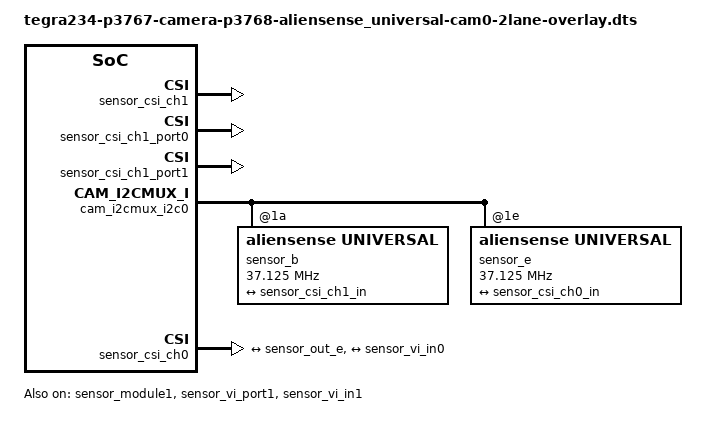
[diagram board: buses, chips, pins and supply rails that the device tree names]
// SPDX-License-Identifier: GPL-2.0-only OR MIT
/*
 * Generated by nxs (nxs host overlay) from the descriptor pack's sensor
 * capture tables — do not edit; regenerate.
 */

/dts-v1/;
/plugin/;

/ {
	overlay-name = "Universal-camera-CAM0-2Lane";
	jetson-header-name = "Jetson 24pin CSI Connector";
	compatible = "nvidia,p3768-0000+p3767-0000", "nvidia,p3768-0000+p3767-0001", "nvidia,p3768-0000+p3767-0003", "nvidia,p3768-0000+p3767-0004", "nvidia,p3768-0000+p3767-0005", "nvidia,p3768-0000+p3767-0000-super", "nvidia,p3768-0000+p3767-0001-super", "nvidia,p3768-0000+p3767-0003-super", "nvidia,p3768-0000+p3767-0004-super", "nvidia,p3768-0000+p3767-0005-super";

	fragment@0 {
		target = <&sensor_module1>;
		__overlay__ {
			status = "okay";
			badge = "universal_centerright_aliensense";
			drivernode0 {
				status = "okay";
				devname = "universal 10-001a";
				sysfs-device-tree = "/sys/firmware/devicetree/base/bus@0/cam_i2cmux/i2c@0/universal_b@1a";
			};
		};
	};

	fragment@1 {
		target = <&sensor_vi_port1>;
		__overlay__ {
			status = "okay";
		};
	};

	fragment@2 {
		target = <&sensor_vi_in1>;
		__overlay__ {
			status = "okay";
			bus-width = <2>;
		};
	};

	fragment@3 {
		target = <&sensor_csi_ch1>;
		__overlay__ {
			status = "okay";
			ports {
				status = "okay";
			};
		};
	};

	fragment@4 {
		target = <&sensor_csi_ch1_port0>;
		__overlay__ {
			status = "okay";
		};
	};

	fragment@5 {
		target = <&sensor_csi_ch1_in>;
		__overlay__ {
			status = "okay";
			bus-width = <2>;
			remote-endpoint = <&sensor_out_b>;
		};
	};

	fragment@6 {
		target = <&sensor_csi_ch1_port1>;
		__overlay__ {
			status = "okay";
		};
	};

	fragment@7 {
		target = <&sensor_csi_ch1_out>;
		__overlay__ {
			status = "okay";
		};
	};

	fragment@8 {
		target = <&cam_i2cmux_i2c0>;
		__overlay__ {
			sensor_b: universal_b@1a {
				compatible = "aliensense,universal";
				reg = <0x1a>;
				aliensense,reg-bits = <16>;
				aliensense,val-bits = <8>;
				clocks = <&bpmp 36>, <&bpmp 36>;
				clock-names = "extperiph1", "pllp_grtba";
				mclk = "extperiph1";
				clock-frequency = <37125000>;
				devnode = "video0";
				physical_w = "7.22";
				physical_h = "7.05";
				sensor_model = "universal";
				post_crop_frame_drop = "0";
				use_decibel_gain = "true";
				delayed_gain = "false";
				use_sensor_mode_id = "false";
				mode0 {
					aliensense_sensors_pool = "framos,imx335;";
					mclk_khz = "37125";
					num_lanes = "2";
					tegra_sinterface = "serial_b";
					vc_id = "0";
					phy_mode = "DPHY";
					discontinuous_clk = "no";
					dpcm_enable = "false";
					cil_settletime = "0";
					lane_polarity = "6";
					active_w = "2616";
					active_h = "1964";
					dynamic_pixel_bit_depth = "10";
					csi_pixel_bit_depth = "10";
					mode_type = "bayer";
					pixel_phase = "rggb";
					readout_orientation = "0";
					line_length = "3521";
					inherent_gain = "1";
					pix_clk_hz = "475200000";
					serdes_pix_clk_hz = "12000000000";
					gain_factor = "10";
					min_gain_val = "0";
					max_gain_val = "720";
					step_gain_val = "3";
					default_gain = "0";
					min_hdr_ratio = "1";
					max_hdr_ratio = "64";
					framerate_factor = "1000000";
					min_framerate = "1500000";
					max_framerate = "60000000";
					step_framerate = "1";
					default_framerate = "60000000";
					exposure_factor = "1000000";
					min_exp_time = "7";
					max_exp_time = "660000";
					step_exp_time = "1";
					default_exp_time = "10000";
					embedded_metadata_height = "0";
				};
				mode1 {
					aliensense_sensors_pool = "framos,imx335;";
					mclk_khz = "37125";
					num_lanes = "2";
					tegra_sinterface = "serial_b";
					vc_id = "0";
					phy_mode = "DPHY";
					discontinuous_clk = "no";
					dpcm_enable = "false";
					cil_settletime = "0";
					lane_polarity = "6";
					active_w = "1920";
					active_h = "1080";
					dynamic_pixel_bit_depth = "10";
					csi_pixel_bit_depth = "10";
					mode_type = "bayer";
					pixel_phase = "rggb";
					readout_orientation = "0";
					line_length = "3521";
					inherent_gain = "1";
					pix_clk_hz = "475200000";
					serdes_pix_clk_hz = "12000000000";
					gain_factor = "10";
					min_gain_val = "0";
					max_gain_val = "720";
					step_gain_val = "3";
					default_gain = "0";
					min_hdr_ratio = "1";
					max_hdr_ratio = "64";
					framerate_factor = "1000000";
					min_framerate = "1500000";
					max_framerate = "120000000";
					step_framerate = "1";
					default_framerate = "120000000";
					exposure_factor = "1000000";
					min_exp_time = "7";
					max_exp_time = "660000";
					step_exp_time = "1";
					default_exp_time = "10000";
					embedded_metadata_height = "0";
				};
				mode2 {
					aliensense_sensors_pool = "framos,imx335;";
					mclk_khz = "37125";
					num_lanes = "2";
					tegra_sinterface = "serial_b";
					vc_id = "0";
					phy_mode = "DPHY";
					discontinuous_clk = "no";
					dpcm_enable = "false";
					cil_settletime = "0";
					lane_polarity = "6";
					active_w = "1320";
					active_h = "984";
					dynamic_pixel_bit_depth = "12";
					csi_pixel_bit_depth = "12";
					mode_type = "bayer";
					pixel_phase = "rggb";
					readout_orientation = "0";
					line_length = "7035";
					inherent_gain = "1";
					pix_clk_hz = "475200000";
					serdes_pix_clk_hz = "12000000000";
					gain_factor = "10";
					min_gain_val = "0";
					max_gain_val = "720";
					step_gain_val = "3";
					default_gain = "0";
					min_hdr_ratio = "1";
					max_hdr_ratio = "64";
					framerate_factor = "1000000";
					min_framerate = "1500000";
					max_framerate = "60000000";
					step_framerate = "1";
					default_framerate = "60000000";
					exposure_factor = "1000000";
					min_exp_time = "15";
					max_exp_time = "660000";
					step_exp_time = "1";
					default_exp_time = "10000";
					embedded_metadata_height = "0";
				};
				mode3 {
					aliensense_sensors_pool = "framos,imx335;";
					mclk_khz = "37125";
					num_lanes = "2";
					tegra_sinterface = "serial_b";
					vc_id = "0";
					phy_mode = "DPHY";
					discontinuous_clk = "no";
					dpcm_enable = "false";
					cil_settletime = "0";
					lane_polarity = "6";
					active_w = "2616";
					active_h = "1964";
					dynamic_pixel_bit_depth = "12";
					csi_pixel_bit_depth = "12";
					mode_type = "bayer";
					pixel_phase = "rggb";
					readout_orientation = "0";
					line_length = "7035";
					inherent_gain = "1";
					pix_clk_hz = "475200000";
					serdes_pix_clk_hz = "12000000000";
					gain_factor = "10";
					min_gain_val = "0";
					max_gain_val = "720";
					step_gain_val = "3";
					default_gain = "0";
					min_hdr_ratio = "1";
					max_hdr_ratio = "64";
					framerate_factor = "1000000";
					min_framerate = "1500000";
					max_framerate = "30000000";
					step_framerate = "1";
					default_framerate = "30000000";
					exposure_factor = "1000000";
					min_exp_time = "15";
					max_exp_time = "660000";
					step_exp_time = "1";
					default_exp_time = "10000";
					embedded_metadata_height = "0";
				};
				mode4 {
					aliensense_sensors_pool = "framos,imx335;";
					mclk_khz = "37125";
					num_lanes = "2";
					tegra_sinterface = "serial_b";
					vc_id = "0";
					phy_mode = "DPHY";
					discontinuous_clk = "no";
					dpcm_enable = "false";
					cil_settletime = "0";
					lane_polarity = "6";
					active_w = "1920";
					active_h = "1080";
					dynamic_pixel_bit_depth = "12";
					csi_pixel_bit_depth = "12";
					mode_type = "bayer";
					pixel_phase = "rggb";
					readout_orientation = "0";
					line_length = "7035";
					inherent_gain = "1";
					pix_clk_hz = "475200000";
					serdes_pix_clk_hz = "12000000000";
					gain_factor = "10";
					min_gain_val = "0";
					max_gain_val = "720";
					step_gain_val = "3";
					default_gain = "0";
					min_hdr_ratio = "1";
					max_hdr_ratio = "64";
					framerate_factor = "1000000";
					min_framerate = "1500000";
					max_framerate = "60000000";
					step_framerate = "1";
					default_framerate = "60000000";
					exposure_factor = "1000000";
					min_exp_time = "15";
					max_exp_time = "660000";
					step_exp_time = "1";
					default_exp_time = "10000";
					embedded_metadata_height = "0";
				};
				mode5 {
					aliensense_sensors_pool = "framos,imx900;";
					mclk_khz = "37125";
					num_lanes = "2";
					tegra_sinterface = "serial_b";
					vc_id = "0";
					phy_mode = "DPHY";
					discontinuous_clk = "no";
					dpcm_enable = "false";
					cil_settletime = "0";
					lane_polarity = "6";
					active_w = "2064";
					active_h = "1552";
					dynamic_pixel_bit_depth = "12";
					csi_pixel_bit_depth = "12";
					mode_type = "bayer";
					pixel_phase = "rggb";
					readout_orientation = "0";
					line_length = "3000";
					inherent_gain = "1";
					pix_clk_hz = "950400000";
					serdes_pix_clk_hz = "12000000000";
					gain_factor = "10";
					min_gain_val = "0";
					max_gain_val = "480";
					step_gain_val = "1";
					default_gain = "0";
					min_hdr_ratio = "1";
					max_hdr_ratio = "1";
					framerate_factor = "1000000";
					min_framerate = "1500000";
					max_framerate = "72000000";
					step_framerate = "1";
					default_framerate = "72000000";
					exposure_factor = "1000000";
					min_exp_time = "9";
					max_exp_time = "660000";
					step_exp_time = "1";
					default_exp_time = "10000";
					embedded_metadata_height = "0";
				};
				mode6 {
					aliensense_sensors_pool = "framos,imx900;";
					mclk_khz = "37125";
					num_lanes = "2";
					tegra_sinterface = "serial_b";
					vc_id = "0";
					phy_mode = "DPHY";
					discontinuous_clk = "no";
					dpcm_enable = "false";
					cil_settletime = "0";
					lane_polarity = "6";
					active_w = "1920";
					active_h = "1080";
					dynamic_pixel_bit_depth = "12";
					csi_pixel_bit_depth = "12";
					mode_type = "bayer";
					pixel_phase = "rggb";
					readout_orientation = "0";
					line_length = "3000";
					inherent_gain = "1";
					pix_clk_hz = "950400000";
					serdes_pix_clk_hz = "12000000000";
					gain_factor = "10";
					min_gain_val = "0";
					max_gain_val = "480";
					step_gain_val = "1";
					default_gain = "0";
					min_hdr_ratio = "1";
					max_hdr_ratio = "1";
					framerate_factor = "1000000";
					min_framerate = "1500000";
					max_framerate = "100000000";
					step_framerate = "1";
					default_framerate = "100000000";
					exposure_factor = "1000000";
					min_exp_time = "9";
					max_exp_time = "660000";
					step_exp_time = "1";
					default_exp_time = "10000";
					embedded_metadata_height = "0";
				};
				mode7 {
					aliensense_sensors_pool = "framos,imx900;";
					mclk_khz = "37125";
					num_lanes = "2";
					tegra_sinterface = "serial_b";
					vc_id = "0";
					phy_mode = "DPHY";
					discontinuous_clk = "no";
					dpcm_enable = "false";
					cil_settletime = "0";
					lane_polarity = "6";
					active_w = "1032";
					active_h = "776";
					dynamic_pixel_bit_depth = "12";
					csi_pixel_bit_depth = "12";
					mode_type = "bayer";
					pixel_phase = "gbrg";
					readout_orientation = "0";
					line_length = "3000";
					inherent_gain = "1";
					pix_clk_hz = "950400000";
					serdes_pix_clk_hz = "12000000000";
					gain_factor = "10";
					min_gain_val = "0";
					max_gain_val = "480";
					step_gain_val = "1";
					default_gain = "0";
					min_hdr_ratio = "1";
					max_hdr_ratio = "1";
					framerate_factor = "1000000";
					min_framerate = "1500000";
					max_framerate = "250000000";
					step_framerate = "1";
					default_framerate = "250000000";
					exposure_factor = "1000000";
					min_exp_time = "5";
					max_exp_time = "660000";
					step_exp_time = "1";
					default_exp_time = "10000";
					embedded_metadata_height = "0";
				};
				mode8 {
					aliensense_sensors_pool = "framos,imx900;";
					mclk_khz = "37125";
					num_lanes = "2";
					tegra_sinterface = "serial_b";
					vc_id = "0";
					phy_mode = "DPHY";
					discontinuous_clk = "no";
					dpcm_enable = "false";
					cil_settletime = "0";
					lane_polarity = "6";
					active_w = "2064";
					active_h = "154";
					dynamic_pixel_bit_depth = "12";
					csi_pixel_bit_depth = "12";
					mode_type = "bayer";
					pixel_phase = "gbrg";
					readout_orientation = "0";
					line_length = "3000";
					inherent_gain = "1";
					pix_clk_hz = "950400000";
					serdes_pix_clk_hz = "12000000000";
					gain_factor = "10";
					min_gain_val = "0";
					max_gain_val = "480";
					step_gain_val = "1";
					default_gain = "0";
					min_hdr_ratio = "1";
					max_hdr_ratio = "1";
					framerate_factor = "1000000";
					min_framerate = "1500000";
					max_framerate = "453000000";
					step_framerate = "1";
					default_framerate = "453000000";
					exposure_factor = "1000000";
					min_exp_time = "9";
					max_exp_time = "660000";
					step_exp_time = "1";
					default_exp_time = "10000";
					embedded_metadata_height = "0";
				};
				mode9 {
					aliensense_sensors_pool = "framos,imx900;";
					mclk_khz = "37125";
					num_lanes = "2";
					tegra_sinterface = "serial_b";
					vc_id = "0";
					phy_mode = "DPHY";
					discontinuous_clk = "no";
					dpcm_enable = "false";
					cil_settletime = "0";
					lane_polarity = "6";
					active_w = "1024";
					active_h = "720";
					dynamic_pixel_bit_depth = "12";
					csi_pixel_bit_depth = "12";
					mode_type = "bayer";
					pixel_phase = "rggb";
					readout_orientation = "0";
					line_length = "3000";
					inherent_gain = "1";
					pix_clk_hz = "950400000";
					serdes_pix_clk_hz = "12000000000";
					gain_factor = "10";
					min_gain_val = "0";
					max_gain_val = "480";
					step_gain_val = "1";
					default_gain = "0";
					min_hdr_ratio = "1";
					max_hdr_ratio = "1";
					framerate_factor = "1000000";
					min_framerate = "1500000";
					max_framerate = "250000000";
					step_framerate = "1";
					default_framerate = "250000000";
					exposure_factor = "1000000";
					min_exp_time = "5";
					max_exp_time = "660000";
					step_exp_time = "1";
					default_exp_time = "10000";
					embedded_metadata_height = "0";
				};
				mode10 {
					aliensense_sensors_pool = "framos,imx900;";
					mclk_khz = "37125";
					num_lanes = "2";
					tegra_sinterface = "serial_b";
					vc_id = "0";
					phy_mode = "DPHY";
					discontinuous_clk = "no";
					dpcm_enable = "false";
					cil_settletime = "0";
					lane_polarity = "6";
					active_w = "2064";
					active_h = "1552";
					dynamic_pixel_bit_depth = "10";
					csi_pixel_bit_depth = "10";
					mode_type = "bayer";
					pixel_phase = "rggb";
					readout_orientation = "0";
					line_length = "3000";
					inherent_gain = "1";
					pix_clk_hz = "950400000";
					serdes_pix_clk_hz = "12000000000";
					gain_factor = "10";
					min_gain_val = "0";
					max_gain_val = "480";
					step_gain_val = "1";
					default_gain = "0";
					min_hdr_ratio = "1";
					max_hdr_ratio = "1";
					framerate_factor = "1000000";
					min_framerate = "1500000";
					max_framerate = "117000000";
					step_framerate = "1";
					default_framerate = "117000000";
					exposure_factor = "1000000";
					min_exp_time = "5";
					max_exp_time = "660000";
					step_exp_time = "1";
					default_exp_time = "10000";
					embedded_metadata_height = "0";
				};
				mode11 {
					aliensense_sensors_pool = "framos,imx900;";
					mclk_khz = "37125";
					num_lanes = "2";
					tegra_sinterface = "serial_b";
					vc_id = "0";
					phy_mode = "DPHY";
					discontinuous_clk = "no";
					dpcm_enable = "false";
					cil_settletime = "0";
					lane_polarity = "6";
					active_w = "1920";
					active_h = "1080";
					dynamic_pixel_bit_depth = "10";
					csi_pixel_bit_depth = "10";
					mode_type = "bayer";
					pixel_phase = "rggb";
					readout_orientation = "0";
					line_length = "3000";
					inherent_gain = "1";
					pix_clk_hz = "950400000";
					serdes_pix_clk_hz = "12000000000";
					gain_factor = "10";
					min_gain_val = "0";
					max_gain_val = "480";
					step_gain_val = "1";
					default_gain = "0";
					min_hdr_ratio = "1";
					max_hdr_ratio = "1";
					framerate_factor = "1000000";
					min_framerate = "1500000";
					max_framerate = "161000000";
					step_framerate = "1";
					default_framerate = "161000000";
					exposure_factor = "1000000";
					min_exp_time = "5";
					max_exp_time = "660000";
					step_exp_time = "1";
					default_exp_time = "10000";
					embedded_metadata_height = "0";
				};
				mode12 {
					aliensense_sensors_pool = "framos,imx900;";
					mclk_khz = "37125";
					num_lanes = "2";
					tegra_sinterface = "serial_b";
					vc_id = "0";
					phy_mode = "DPHY";
					discontinuous_clk = "no";
					dpcm_enable = "false";
					cil_settletime = "0";
					lane_polarity = "6";
					active_w = "1032";
					active_h = "776";
					dynamic_pixel_bit_depth = "10";
					csi_pixel_bit_depth = "10";
					mode_type = "bayer";
					pixel_phase = "gbrg";
					readout_orientation = "0";
					line_length = "3000";
					inherent_gain = "1";
					pix_clk_hz = "950400000";
					serdes_pix_clk_hz = "12000000000";
					gain_factor = "10";
					min_gain_val = "0";
					max_gain_val = "480";
					step_gain_val = "1";
					default_gain = "0";
					min_hdr_ratio = "1";
					max_hdr_ratio = "1";
					framerate_factor = "1000000";
					min_framerate = "1500000";
					max_framerate = "29000000";
					step_framerate = "1";
					default_framerate = "29000000";
					exposure_factor = "1000000";
					min_exp_time = "3";
					max_exp_time = "660000";
					step_exp_time = "1";
					default_exp_time = "10000";
					embedded_metadata_height = "0";
				};
				mode13 {
					aliensense_sensors_pool = "framos,imx900;";
					mclk_khz = "37125";
					num_lanes = "2";
					tegra_sinterface = "serial_b";
					vc_id = "0";
					phy_mode = "DPHY";
					discontinuous_clk = "no";
					dpcm_enable = "false";
					cil_settletime = "0";
					lane_polarity = "6";
					active_w = "2064";
					active_h = "154";
					dynamic_pixel_bit_depth = "10";
					csi_pixel_bit_depth = "10";
					mode_type = "bayer";
					pixel_phase = "gbrg";
					readout_orientation = "0";
					line_length = "3000";
					inherent_gain = "1";
					pix_clk_hz = "950400000";
					serdes_pix_clk_hz = "12000000000";
					gain_factor = "10";
					min_gain_val = "0";
					max_gain_val = "480";
					step_gain_val = "1";
					default_gain = "0";
					min_hdr_ratio = "1";
					max_hdr_ratio = "1";
					framerate_factor = "1000000";
					min_framerate = "1500000";
					max_framerate = "632000000";
					step_framerate = "1";
					default_framerate = "632000000";
					exposure_factor = "1000000";
					min_exp_time = "5";
					max_exp_time = "660000";
					step_exp_time = "1";
					default_exp_time = "10000";
					embedded_metadata_height = "0";
				};
				mode14 {
					aliensense_sensors_pool = "framos,imx900;";
					mclk_khz = "37125";
					num_lanes = "2";
					tegra_sinterface = "serial_b";
					vc_id = "0";
					phy_mode = "DPHY";
					discontinuous_clk = "no";
					dpcm_enable = "false";
					cil_settletime = "0";
					lane_polarity = "6";
					active_w = "1024";
					active_h = "720";
					dynamic_pixel_bit_depth = "10";
					csi_pixel_bit_depth = "10";
					mode_type = "bayer";
					pixel_phase = "rggb";
					readout_orientation = "0";
					line_length = "3000";
					inherent_gain = "1";
					pix_clk_hz = "950400000";
					serdes_pix_clk_hz = "12000000000";
					gain_factor = "10";
					min_gain_val = "0";
					max_gain_val = "480";
					step_gain_val = "1";
					default_gain = "0";
					min_hdr_ratio = "1";
					max_hdr_ratio = "1";
					framerate_factor = "1000000";
					min_framerate = "1500000";
					max_framerate = "377000000";
					step_framerate = "1";
					default_framerate = "377000000";
					exposure_factor = "1000000";
					min_exp_time = "3";
					max_exp_time = "660000";
					step_exp_time = "1";
					default_exp_time = "10000";
					embedded_metadata_height = "0";
				};
				mode15 {
					aliensense_sensors_pool = "sony,imx219;";
					mclk_khz = "24000";
					num_lanes = "2";
					tegra_sinterface = "serial_b";
					vc_id = "0";
					phy_mode = "DPHY";
					discontinuous_clk = "no";
					dpcm_enable = "false";
					cil_settletime = "0";
					lane_polarity = "6";
					active_w = "3280";
					active_h = "2464";
					dynamic_pixel_bit_depth = "10";
					csi_pixel_bit_depth = "10";
					mode_type = "bayer";
					pixel_phase = "rggb";
					readout_orientation = "0";
					line_length = "3448";
					inherent_gain = "1";
					pix_clk_hz = "182400000";
					serdes_pix_clk_hz = "12000000000";
					gain_factor = "16";
					min_gain_val = "16";
					max_gain_val = "170";
					step_gain_val = "1";
					default_gain = "16";
					min_hdr_ratio = "1";
					max_hdr_ratio = "1";
					framerate_factor = "1000000";
					min_framerate = "2000000";
					max_framerate = "21000000";
					step_framerate = "1";
					default_framerate = "21000000";
					exposure_factor = "1000000";
					min_exp_time = "13";
					max_exp_time = "683709";
					step_exp_time = "1";
					default_exp_time = "2495";
					embedded_metadata_height = "0";
				};
				mode16 {
					aliensense_sensors_pool = "sony,imx219;";
					mclk_khz = "24000";
					num_lanes = "2";
					tegra_sinterface = "serial_b";
					vc_id = "0";
					phy_mode = "DPHY";
					discontinuous_clk = "no";
					dpcm_enable = "false";
					cil_settletime = "0";
					lane_polarity = "6";
					active_w = "3280";
					active_h = "1848";
					dynamic_pixel_bit_depth = "10";
					csi_pixel_bit_depth = "10";
					mode_type = "bayer";
					pixel_phase = "rggb";
					readout_orientation = "0";
					line_length = "3448";
					inherent_gain = "1";
					pix_clk_hz = "182400000";
					serdes_pix_clk_hz = "12000000000";
					gain_factor = "16";
					min_gain_val = "16";
					max_gain_val = "170";
					step_gain_val = "1";
					default_gain = "16";
					min_hdr_ratio = "1";
					max_hdr_ratio = "1";
					framerate_factor = "1000000";
					min_framerate = "2000000";
					max_framerate = "28000000";
					step_framerate = "1";
					default_framerate = "28000000";
					exposure_factor = "1000000";
					min_exp_time = "13";
					max_exp_time = "683709";
					step_exp_time = "1";
					default_exp_time = "2495";
					embedded_metadata_height = "0";
				};
				mode17 {
					aliensense_sensors_pool = "sony,imx219;";
					mclk_khz = "24000";
					num_lanes = "2";
					tegra_sinterface = "serial_b";
					vc_id = "0";
					phy_mode = "DPHY";
					discontinuous_clk = "no";
					dpcm_enable = "false";
					cil_settletime = "0";
					lane_polarity = "6";
					active_w = "1920";
					active_h = "1080";
					dynamic_pixel_bit_depth = "10";
					csi_pixel_bit_depth = "10";
					mode_type = "bayer";
					pixel_phase = "rggb";
					readout_orientation = "0";
					line_length = "3448";
					inherent_gain = "1";
					pix_clk_hz = "182400000";
					serdes_pix_clk_hz = "12000000000";
					gain_factor = "16";
					min_gain_val = "16";
					max_gain_val = "170";
					step_gain_val = "1";
					default_gain = "16";
					min_hdr_ratio = "1";
					max_hdr_ratio = "1";
					framerate_factor = "1000000";
					min_framerate = "2000000";
					max_framerate = "30000000";
					step_framerate = "1";
					default_framerate = "30000000";
					exposure_factor = "1000000";
					min_exp_time = "13";
					max_exp_time = "683709";
					step_exp_time = "1";
					default_exp_time = "2495";
					embedded_metadata_height = "0";
				};
				mode18 {
					aliensense_sensors_pool = "sony,imx219;";
					mclk_khz = "24000";
					num_lanes = "2";
					tegra_sinterface = "serial_b";
					vc_id = "0";
					phy_mode = "DPHY";
					discontinuous_clk = "no";
					dpcm_enable = "false";
					cil_settletime = "0";
					lane_polarity = "6";
					active_w = "1640";
					active_h = "1232";
					dynamic_pixel_bit_depth = "10";
					csi_pixel_bit_depth = "10";
					mode_type = "bayer";
					pixel_phase = "rggb";
					readout_orientation = "0";
					line_length = "3448";
					inherent_gain = "1";
					pix_clk_hz = "182400000";
					serdes_pix_clk_hz = "12000000000";
					gain_factor = "16";
					min_gain_val = "16";
					max_gain_val = "170";
					step_gain_val = "1";
					default_gain = "16";
					min_hdr_ratio = "1";
					max_hdr_ratio = "1";
					framerate_factor = "1000000";
					min_framerate = "2000000";
					max_framerate = "30000000";
					step_framerate = "1";
					default_framerate = "30000000";
					exposure_factor = "1000000";
					min_exp_time = "13";
					max_exp_time = "683709";
					step_exp_time = "1";
					default_exp_time = "2495";
					embedded_metadata_height = "0";
				};
				mode19 {
					aliensense_sensors_pool = "sony,imx219;";
					mclk_khz = "24000";
					num_lanes = "2";
					tegra_sinterface = "serial_b";
					vc_id = "0";
					phy_mode = "DPHY";
					discontinuous_clk = "no";
					dpcm_enable = "false";
					cil_settletime = "0";
					lane_polarity = "6";
					active_w = "1280";
					active_h = "720";
					dynamic_pixel_bit_depth = "10";
					csi_pixel_bit_depth = "10";
					mode_type = "bayer";
					pixel_phase = "rggb";
					readout_orientation = "0";
					line_length = "3448";
					inherent_gain = "1";
					pix_clk_hz = "182400000";
					serdes_pix_clk_hz = "12000000000";
					gain_factor = "16";
					min_gain_val = "16";
					max_gain_val = "170";
					step_gain_val = "1";
					default_gain = "16";
					min_hdr_ratio = "1";
					max_hdr_ratio = "1";
					framerate_factor = "1000000";
					min_framerate = "2000000";
					max_framerate = "60000000";
					step_framerate = "1";
					default_framerate = "60000000";
					exposure_factor = "1000000";
					min_exp_time = "13";
					max_exp_time = "683709";
					step_exp_time = "1";
					default_exp_time = "2495";
					embedded_metadata_height = "0";
				};
				mode20 {
					aliensense_sensors_pool = "sony,imx477;";
					mclk_khz = "24000";
					num_lanes = "2";
					tegra_sinterface = "serial_b";
					vc_id = "0";
					phy_mode = "DPHY";
					discontinuous_clk = "no";
					dpcm_enable = "false";
					cil_settletime = "0";
					lane_polarity = "6";
					active_w = "3840";
					active_h = "2160";
					dynamic_pixel_bit_depth = "10";
					csi_pixel_bit_depth = "10";
					mode_type = "bayer";
					pixel_phase = "rggb";
					readout_orientation = "0";
					line_length = "11200";
					inherent_gain = "1";
					pix_clk_hz = "300000000";
					serdes_pix_clk_hz = "12000000000";
					gain_factor = "16";
					min_gain_val = "16";
					max_gain_val = "356";
					step_gain_val = "1";
					default_gain = "16";
					min_hdr_ratio = "1";
					max_hdr_ratio = "1";
					framerate_factor = "1000000";
					min_framerate = "2000000";
					max_framerate = "30000000";
					step_framerate = "1";
					default_framerate = "30000000";
					exposure_factor = "1000000";
					min_exp_time = "13";
					max_exp_time = "683709";
					step_exp_time = "1";
					default_exp_time = "2495";
					embedded_metadata_height = "0";
				};
				mode21 {
					aliensense_sensors_pool = "sony,imx477;";
					mclk_khz = "24000";
					num_lanes = "2";
					tegra_sinterface = "serial_b";
					vc_id = "0";
					phy_mode = "DPHY";
					discontinuous_clk = "no";
					dpcm_enable = "false";
					cil_settletime = "0";
					lane_polarity = "6";
					active_w = "1920";
					active_h = "1080";
					dynamic_pixel_bit_depth = "10";
					csi_pixel_bit_depth = "10";
					mode_type = "bayer";
					pixel_phase = "rggb";
					readout_orientation = "0";
					line_length = "7000";
					inherent_gain = "1";
					pix_clk_hz = "300000000";
					serdes_pix_clk_hz = "12000000000";
					gain_factor = "16";
					min_gain_val = "16";
					max_gain_val = "356";
					step_gain_val = "1";
					default_gain = "16";
					min_hdr_ratio = "1";
					max_hdr_ratio = "1";
					framerate_factor = "1000000";
					min_framerate = "2000000";
					max_framerate = "60000000";
					step_framerate = "1";
					default_framerate = "60000000";
					exposure_factor = "1000000";
					min_exp_time = "13";
					max_exp_time = "683709";
					step_exp_time = "1";
					default_exp_time = "2495";
					embedded_metadata_height = "0";
				};
				aliensense-ctrl {
					#address-cells = <1>;
					#size-cells = <0>;
					ctrl@0 {
						reg = <0>;
						aliensense,sensor = "framos,imx335";
						aliensense,inck-hz = <74250000>;
						aliensense,ctrl-group-hold = <0x3001 1 0 1 1 0 0 0>;
						aliensense,ctrl-gain = <0x30e8 2 0 1 10 3 240 0>;
						aliensense,ctrl-exposure = <0x3058 3 0 1 0 9 1 0>;
						aliensense,ctrl-frame-length = <0x3030 3 0 1 1176 0 0 0>;
						aliensense,ctrl-line-length = <0x3034 2 0 0 0 0 0 0>;
						aliensense,ctrl-standby = <0x3000 1 0 0 1 0 0 0>;
						aliensense,ctrl-start = <0x3002 1 0 0 0 0 0 0>;
						aliensense,ctrl-black-level = <0x3302 2 0 0 0 0 0 0>;
					};
					ctrl@1 {
						reg = <1>;
						aliensense,sensor = "framos,imx900";
						aliensense,inck-hz = <74250000>;
						aliensense,ctrl-group-hold = <0x30f8 1 0 1 1 0 0 0>;
						aliensense,ctrl-gain = <0x3514 2 0 1 10 1 480 0>;
						aliensense,ctrl-exposure = <0x3240 3 0 1 1550 85 1 0>;
						aliensense,ctrl-frame-length = <0x30d4 3 0 1 173 0 0 0>;
						aliensense,ctrl-line-length = <0x30d8 2 0 0 0 0 0 0>;
						aliensense,ctrl-standby = <0x3000 1 0 0 1 0 0 0>;
						aliensense,ctrl-start = <0x3010 1 0 0 0 0 0 0>;
						aliensense,ctrl-trigger = <0x3400 1 0 0 0 10 9 0>;
						aliensense,ctrl-vint-en = <0x323e 1 0 0 26 24 25 0>;
						aliensense,ctrl-sync-sel = <0x343c 1 0 0 192 240 0 0>;
						aliensense,ctrl-test-pattern = <0x3550 1 0 0 6 7 13649 0>;
						aliensense,ctrl-black-level = <0x35b4 2 0 0 0 0 0 0>;
					};
					ctrl@2 {
						reg = <2>;
						aliensense,sensor = "sony,imx219";
						aliensense,inck-hz = <182400000>;
					};
					ctrl@3 {
						reg = <3>;
						aliensense,sensor = "sony,imx477";
						aliensense,inck-hz = <840000000>;
					};
				};
				ports {
					#address-cells = <1>;
					#size-cells = <0>;
					port@0 {
						reg = <0>;
						sensor_out_b: endpoint {
							vc-id = <0>;
							port-index = <1>;
							bus-width = <2>;
							remote-endpoint = <&sensor_csi_ch1_in>;
						};
					};
				};
			};
		};
	};

	fragment@9 {
		target-path = "/";
		__overlay__ {
			tegra-camera-platform {
				modules {
					status = "okay";
					sensor_module2: module2 {
						status = "okay";
						position = "bottomright";
						orientation = "1";
						badge = "universal_centerright_aliensense";
						drivernode0 {
							status = "okay";
							pcl_id = "v4l2_sensor";
							devname = "universal 10-001e";
							sysfs-device-tree = "/sys/firmware/devicetree/base/bus@0/cam_i2cmux/i2c@0/universal_e@1e";
						};
					};
				};
			};

			tegra-capture-vi {
				num-channels = <4>;
				ports {
					#address-cells = <1>;
					#size-cells = <0>;
					status = "okay";
					sensor_vi_port0: port@0 {
						reg = <0>;
						status = "okay";
						sensor_vi_in0: endpoint {
							status = "okay";
							vc-id = <1>;
							port-index = <1>;
							bus-width = <2>;
							remote-endpoint = <&sensor_csi_ch0_out>;
						};
					};
				};
			};
		};
	};

	fragment@10 {
		target-path = "/bus@0";
		__overlay__ {
			host1x@13e00000 {
				nvcsi@15a00000 {
					num-channels = <4>;
					#address-cells = <1>;
					#size-cells = <0>;
					sensor_csi_ch0: channel@0 {
						reg = <0>;
						status = "okay";
						ports {
							#address-cells = <1>;
							#size-cells = <0>;
							status = "okay";
							sensor_csi_ch0_port0: port@0 {
								reg = <0>;
								status = "okay";
								sensor_csi_ch0_in: endpoint@0 {
									status = "okay";
									port-index = <1>;
									bus-width = <2>;
									remote-endpoint = <&sensor_out_e>;
								};
							};
							sensor_csi_ch0_port1: port@1 {
								reg = <1>;
								status = "okay";
								sensor_csi_ch0_out: endpoint@1 {
									status = "okay";
									remote-endpoint = <&sensor_vi_in0>;
								};
							};
						};
					};
				};
			};
		};
	};

	fragment@11 {
		target = <&cam_i2cmux_i2c0>;
		__overlay__ {
			sensor_e: universal_e@1e {
				compatible = "aliensense,universal";
				reg = <0x1e>;
				aliensense,reg-bits = <16>;
				aliensense,val-bits = <8>;
				clocks = <&bpmp 36>, <&bpmp 36>;
				clock-names = "extperiph1", "pllp_grtba";
				mclk = "extperiph1";
				clock-frequency = <37125000>;
				devnode = "video0";
				physical_w = "7.22";
				physical_h = "7.05";
				sensor_model = "universal";
				post_crop_frame_drop = "0";
				use_decibel_gain = "true";
				delayed_gain = "false";
				use_sensor_mode_id = "false";
				mode0 {
					aliensense_sensors_pool = "framos,imx335;";
					mclk_khz = "37125";
					num_lanes = "2";
					tegra_sinterface = "serial_b";
					vc_id = "1";
					phy_mode = "DPHY";
					discontinuous_clk = "no";
					dpcm_enable = "false";
					cil_settletime = "0";
					lane_polarity = "6";
					active_w = "2616";
					active_h = "1964";
					dynamic_pixel_bit_depth = "10";
					csi_pixel_bit_depth = "10";
					mode_type = "bayer";
					pixel_phase = "rggb";
					readout_orientation = "0";
					line_length = "3521";
					inherent_gain = "1";
					pix_clk_hz = "475200000";
					serdes_pix_clk_hz = "12000000000";
					gain_factor = "10";
					min_gain_val = "0";
					max_gain_val = "720";
					step_gain_val = "3";
					default_gain = "0";
					min_hdr_ratio = "1";
					max_hdr_ratio = "64";
					framerate_factor = "1000000";
					min_framerate = "1500000";
					max_framerate = "60000000";
					step_framerate = "1";
					default_framerate = "60000000";
					exposure_factor = "1000000";
					min_exp_time = "7";
					max_exp_time = "660000";
					step_exp_time = "1";
					default_exp_time = "10000";
					embedded_metadata_height = "0";
				};
				mode1 {
					aliensense_sensors_pool = "framos,imx335;";
					mclk_khz = "37125";
					num_lanes = "2";
					tegra_sinterface = "serial_b";
					vc_id = "1";
					phy_mode = "DPHY";
					discontinuous_clk = "no";
					dpcm_enable = "false";
					cil_settletime = "0";
					lane_polarity = "6";
					active_w = "1920";
					active_h = "1080";
					dynamic_pixel_bit_depth = "10";
					csi_pixel_bit_depth = "10";
					mode_type = "bayer";
					pixel_phase = "rggb";
					readout_orientation = "0";
					line_length = "3521";
					inherent_gain = "1";
					pix_clk_hz = "475200000";
					serdes_pix_clk_hz = "12000000000";
					gain_factor = "10";
					min_gain_val = "0";
					max_gain_val = "720";
					step_gain_val = "3";
					default_gain = "0";
					min_hdr_ratio = "1";
					max_hdr_ratio = "64";
					framerate_factor = "1000000";
					min_framerate = "1500000";
					max_framerate = "120000000";
					step_framerate = "1";
					default_framerate = "120000000";
					exposure_factor = "1000000";
					min_exp_time = "7";
					max_exp_time = "660000";
					step_exp_time = "1";
					default_exp_time = "10000";
					embedded_metadata_height = "0";
				};
				mode2 {
					aliensense_sensors_pool = "framos,imx335;";
					mclk_khz = "37125";
					num_lanes = "2";
					tegra_sinterface = "serial_b";
					vc_id = "1";
					phy_mode = "DPHY";
					discontinuous_clk = "no";
					dpcm_enable = "false";
					cil_settletime = "0";
					lane_polarity = "6";
					active_w = "1320";
					active_h = "984";
					dynamic_pixel_bit_depth = "12";
					csi_pixel_bit_depth = "12";
					mode_type = "bayer";
					pixel_phase = "rggb";
					readout_orientation = "0";
					line_length = "7035";
					inherent_gain = "1";
					pix_clk_hz = "475200000";
					serdes_pix_clk_hz = "12000000000";
					gain_factor = "10";
					min_gain_val = "0";
					max_gain_val = "720";
					step_gain_val = "3";
					default_gain = "0";
					min_hdr_ratio = "1";
					max_hdr_ratio = "64";
					framerate_factor = "1000000";
					min_framerate = "1500000";
					max_framerate = "60000000";
					step_framerate = "1";
					default_framerate = "60000000";
					exposure_factor = "1000000";
					min_exp_time = "15";
					max_exp_time = "660000";
					step_exp_time = "1";
					default_exp_time = "10000";
					embedded_metadata_height = "0";
				};
				mode3 {
					aliensense_sensors_pool = "framos,imx335;";
					mclk_khz = "37125";
					num_lanes = "2";
					tegra_sinterface = "serial_b";
					vc_id = "1";
					phy_mode = "DPHY";
					discontinuous_clk = "no";
					dpcm_enable = "false";
					cil_settletime = "0";
					lane_polarity = "6";
					active_w = "2616";
					active_h = "1964";
					dynamic_pixel_bit_depth = "12";
					csi_pixel_bit_depth = "12";
					mode_type = "bayer";
					pixel_phase = "rggb";
					readout_orientation = "0";
					line_length = "7035";
					inherent_gain = "1";
					pix_clk_hz = "475200000";
					serdes_pix_clk_hz = "12000000000";
					gain_factor = "10";
					min_gain_val = "0";
					max_gain_val = "720";
					step_gain_val = "3";
					default_gain = "0";
					min_hdr_ratio = "1";
					max_hdr_ratio = "64";
					framerate_factor = "1000000";
					min_framerate = "1500000";
					max_framerate = "30000000";
					step_framerate = "1";
					default_framerate = "30000000";
					exposure_factor = "1000000";
					min_exp_time = "15";
					max_exp_time = "660000";
					step_exp_time = "1";
					default_exp_time = "10000";
					embedded_metadata_height = "0";
				};
				mode4 {
					aliensense_sensors_pool = "framos,imx335;";
					mclk_khz = "37125";
					num_lanes = "2";
					tegra_sinterface = "serial_b";
					vc_id = "1";
					phy_mode = "DPHY";
					discontinuous_clk = "no";
					dpcm_enable = "false";
					cil_settletime = "0";
					lane_polarity = "6";
					active_w = "1920";
					active_h = "1080";
					dynamic_pixel_bit_depth = "12";
					csi_pixel_bit_depth = "12";
					mode_type = "bayer";
					pixel_phase = "rggb";
					readout_orientation = "0";
					line_length = "7035";
					inherent_gain = "1";
					pix_clk_hz = "475200000";
					serdes_pix_clk_hz = "12000000000";
					gain_factor = "10";
					min_gain_val = "0";
					max_gain_val = "720";
					step_gain_val = "3";
					default_gain = "0";
					min_hdr_ratio = "1";
					max_hdr_ratio = "64";
					framerate_factor = "1000000";
					min_framerate = "1500000";
					max_framerate = "60000000";
					step_framerate = "1";
					default_framerate = "60000000";
					exposure_factor = "1000000";
					min_exp_time = "15";
					max_exp_time = "660000";
					step_exp_time = "1";
					default_exp_time = "10000";
					embedded_metadata_height = "0";
				};
				mode5 {
					aliensense_sensors_pool = "framos,imx900;";
					mclk_khz = "37125";
					num_lanes = "2";
					tegra_sinterface = "serial_b";
					vc_id = "1";
					phy_mode = "DPHY";
					discontinuous_clk = "no";
					dpcm_enable = "false";
					cil_settletime = "0";
					lane_polarity = "6";
					active_w = "2064";
					active_h = "1552";
					dynamic_pixel_bit_depth = "12";
					csi_pixel_bit_depth = "12";
					mode_type = "bayer";
					pixel_phase = "rggb";
					readout_orientation = "0";
					line_length = "3000";
					inherent_gain = "1";
					pix_clk_hz = "950400000";
					serdes_pix_clk_hz = "12000000000";
					gain_factor = "10";
					min_gain_val = "0";
					max_gain_val = "480";
					step_gain_val = "1";
					default_gain = "0";
					min_hdr_ratio = "1";
					max_hdr_ratio = "1";
					framerate_factor = "1000000";
					min_framerate = "1500000";
					max_framerate = "72000000";
					step_framerate = "1";
					default_framerate = "72000000";
					exposure_factor = "1000000";
					min_exp_time = "9";
					max_exp_time = "660000";
					step_exp_time = "1";
					default_exp_time = "10000";
					embedded_metadata_height = "0";
				};
				mode6 {
					aliensense_sensors_pool = "framos,imx900;";
					mclk_khz = "37125";
					num_lanes = "2";
					tegra_sinterface = "serial_b";
					vc_id = "1";
					phy_mode = "DPHY";
					discontinuous_clk = "no";
					dpcm_enable = "false";
					cil_settletime = "0";
					lane_polarity = "6";
					active_w = "1920";
					active_h = "1080";
					dynamic_pixel_bit_depth = "12";
					csi_pixel_bit_depth = "12";
					mode_type = "bayer";
					pixel_phase = "rggb";
					readout_orientation = "0";
					line_length = "3000";
					inherent_gain = "1";
					pix_clk_hz = "950400000";
					serdes_pix_clk_hz = "12000000000";
					gain_factor = "10";
					min_gain_val = "0";
					max_gain_val = "480";
					step_gain_val = "1";
					default_gain = "0";
					min_hdr_ratio = "1";
					max_hdr_ratio = "1";
					framerate_factor = "1000000";
					min_framerate = "1500000";
					max_framerate = "100000000";
					step_framerate = "1";
					default_framerate = "100000000";
					exposure_factor = "1000000";
					min_exp_time = "9";
					max_exp_time = "660000";
					step_exp_time = "1";
					default_exp_time = "10000";
					embedded_metadata_height = "0";
				};
				mode7 {
					aliensense_sensors_pool = "framos,imx900;";
					mclk_khz = "37125";
					num_lanes = "2";
					tegra_sinterface = "serial_b";
					vc_id = "1";
					phy_mode = "DPHY";
					discontinuous_clk = "no";
					dpcm_enable = "false";
					cil_settletime = "0";
					lane_polarity = "6";
					active_w = "1032";
					active_h = "776";
					dynamic_pixel_bit_depth = "12";
					csi_pixel_bit_depth = "12";
					mode_type = "bayer";
					pixel_phase = "gbrg";
					readout_orientation = "0";
					line_length = "3000";
					inherent_gain = "1";
					pix_clk_hz = "950400000";
					serdes_pix_clk_hz = "12000000000";
					gain_factor = "10";
					min_gain_val = "0";
					max_gain_val = "480";
					step_gain_val = "1";
					default_gain = "0";
					min_hdr_ratio = "1";
					max_hdr_ratio = "1";
					framerate_factor = "1000000";
					min_framerate = "1500000";
					max_framerate = "250000000";
					step_framerate = "1";
					default_framerate = "250000000";
					exposure_factor = "1000000";
					min_exp_time = "5";
					max_exp_time = "660000";
					step_exp_time = "1";
					default_exp_time = "10000";
					embedded_metadata_height = "0";
				};
				mode8 {
					aliensense_sensors_pool = "framos,imx900;";
					mclk_khz = "37125";
					num_lanes = "2";
					tegra_sinterface = "serial_b";
					vc_id = "1";
					phy_mode = "DPHY";
					discontinuous_clk = "no";
					dpcm_enable = "false";
					cil_settletime = "0";
					lane_polarity = "6";
					active_w = "2064";
					active_h = "154";
					dynamic_pixel_bit_depth = "12";
					csi_pixel_bit_depth = "12";
					mode_type = "bayer";
					pixel_phase = "gbrg";
					readout_orientation = "0";
					line_length = "3000";
					inherent_gain = "1";
					pix_clk_hz = "950400000";
					serdes_pix_clk_hz = "12000000000";
					gain_factor = "10";
					min_gain_val = "0";
					max_gain_val = "480";
					step_gain_val = "1";
					default_gain = "0";
					min_hdr_ratio = "1";
					max_hdr_ratio = "1";
					framerate_factor = "1000000";
					min_framerate = "1500000";
					max_framerate = "453000000";
					step_framerate = "1";
					default_framerate = "453000000";
					exposure_factor = "1000000";
					min_exp_time = "9";
					max_exp_time = "660000";
					step_exp_time = "1";
					default_exp_time = "10000";
					embedded_metadata_height = "0";
				};
				mode9 {
					aliensense_sensors_pool = "framos,imx900;";
					mclk_khz = "37125";
					num_lanes = "2";
					tegra_sinterface = "serial_b";
					vc_id = "1";
					phy_mode = "DPHY";
					discontinuous_clk = "no";
					dpcm_enable = "false";
					cil_settletime = "0";
					lane_polarity = "6";
					active_w = "1024";
					active_h = "720";
					dynamic_pixel_bit_depth = "12";
					csi_pixel_bit_depth = "12";
					mode_type = "bayer";
					pixel_phase = "rggb";
					readout_orientation = "0";
					line_length = "3000";
					inherent_gain = "1";
					pix_clk_hz = "950400000";
					serdes_pix_clk_hz = "12000000000";
					gain_factor = "10";
					min_gain_val = "0";
					max_gain_val = "480";
					step_gain_val = "1";
					default_gain = "0";
					min_hdr_ratio = "1";
					max_hdr_ratio = "1";
					framerate_factor = "1000000";
					min_framerate = "1500000";
					max_framerate = "250000000";
					step_framerate = "1";
					default_framerate = "250000000";
					exposure_factor = "1000000";
					min_exp_time = "5";
					max_exp_time = "660000";
					step_exp_time = "1";
					default_exp_time = "10000";
					embedded_metadata_height = "0";
				};
				mode10 {
					aliensense_sensors_pool = "framos,imx900;";
					mclk_khz = "37125";
					num_lanes = "2";
					tegra_sinterface = "serial_b";
					vc_id = "1";
					phy_mode = "DPHY";
					discontinuous_clk = "no";
					dpcm_enable = "false";
					cil_settletime = "0";
					lane_polarity = "6";
					active_w = "2064";
					active_h = "1552";
					dynamic_pixel_bit_depth = "10";
					csi_pixel_bit_depth = "10";
					mode_type = "bayer";
					pixel_phase = "rggb";
					readout_orientation = "0";
					line_length = "3000";
					inherent_gain = "1";
					pix_clk_hz = "950400000";
					serdes_pix_clk_hz = "12000000000";
					gain_factor = "10";
					min_gain_val = "0";
					max_gain_val = "480";
					step_gain_val = "1";
					default_gain = "0";
					min_hdr_ratio = "1";
					max_hdr_ratio = "1";
					framerate_factor = "1000000";
					min_framerate = "1500000";
					max_framerate = "117000000";
					step_framerate = "1";
					default_framerate = "117000000";
					exposure_factor = "1000000";
					min_exp_time = "5";
					max_exp_time = "660000";
					step_exp_time = "1";
					default_exp_time = "10000";
					embedded_metadata_height = "0";
				};
				mode11 {
					aliensense_sensors_pool = "framos,imx900;";
					mclk_khz = "37125";
					num_lanes = "2";
					tegra_sinterface = "serial_b";
					vc_id = "1";
					phy_mode = "DPHY";
					discontinuous_clk = "no";
					dpcm_enable = "false";
					cil_settletime = "0";
					lane_polarity = "6";
					active_w = "1920";
					active_h = "1080";
					dynamic_pixel_bit_depth = "10";
					csi_pixel_bit_depth = "10";
					mode_type = "bayer";
					pixel_phase = "rggb";
					readout_orientation = "0";
					line_length = "3000";
					inherent_gain = "1";
					pix_clk_hz = "950400000";
					serdes_pix_clk_hz = "12000000000";
					gain_factor = "10";
					min_gain_val = "0";
					max_gain_val = "480";
					step_gain_val = "1";
					default_gain = "0";
					min_hdr_ratio = "1";
					max_hdr_ratio = "1";
					framerate_factor = "1000000";
					min_framerate = "1500000";
					max_framerate = "161000000";
					step_framerate = "1";
					default_framerate = "161000000";
					exposure_factor = "1000000";
					min_exp_time = "5";
					max_exp_time = "660000";
					step_exp_time = "1";
					default_exp_time = "10000";
					embedded_metadata_height = "0";
				};
				mode12 {
					aliensense_sensors_pool = "framos,imx900;";
					mclk_khz = "37125";
					num_lanes = "2";
					tegra_sinterface = "serial_b";
					vc_id = "1";
					phy_mode = "DPHY";
					discontinuous_clk = "no";
					dpcm_enable = "false";
					cil_settletime = "0";
					lane_polarity = "6";
					active_w = "1032";
					active_h = "776";
					dynamic_pixel_bit_depth = "10";
					csi_pixel_bit_depth = "10";
					mode_type = "bayer";
					pixel_phase = "gbrg";
					readout_orientation = "0";
					line_length = "3000";
					inherent_gain = "1";
					pix_clk_hz = "950400000";
					serdes_pix_clk_hz = "12000000000";
					gain_factor = "10";
					min_gain_val = "0";
					max_gain_val = "480";
					step_gain_val = "1";
					default_gain = "0";
					min_hdr_ratio = "1";
					max_hdr_ratio = "1";
					framerate_factor = "1000000";
					min_framerate = "1500000";
					max_framerate = "29000000";
					step_framerate = "1";
					default_framerate = "29000000";
					exposure_factor = "1000000";
					min_exp_time = "3";
					max_exp_time = "660000";
					step_exp_time = "1";
					default_exp_time = "10000";
					embedded_metadata_height = "0";
				};
				mode13 {
					aliensense_sensors_pool = "framos,imx900;";
					mclk_khz = "37125";
					num_lanes = "2";
					tegra_sinterface = "serial_b";
					vc_id = "1";
					phy_mode = "DPHY";
					discontinuous_clk = "no";
					dpcm_enable = "false";
					cil_settletime = "0";
					lane_polarity = "6";
					active_w = "2064";
					active_h = "154";
					dynamic_pixel_bit_depth = "10";
					csi_pixel_bit_depth = "10";
					mode_type = "bayer";
					pixel_phase = "gbrg";
					readout_orientation = "0";
					line_length = "3000";
					inherent_gain = "1";
					pix_clk_hz = "950400000";
					serdes_pix_clk_hz = "12000000000";
					gain_factor = "10";
					min_gain_val = "0";
					max_gain_val = "480";
					step_gain_val = "1";
					default_gain = "0";
					min_hdr_ratio = "1";
					max_hdr_ratio = "1";
					framerate_factor = "1000000";
					min_framerate = "1500000";
					max_framerate = "632000000";
					step_framerate = "1";
					default_framerate = "632000000";
					exposure_factor = "1000000";
					min_exp_time = "5";
					max_exp_time = "660000";
					step_exp_time = "1";
					default_exp_time = "10000";
					embedded_metadata_height = "0";
				};
				mode14 {
					aliensense_sensors_pool = "framos,imx900;";
					mclk_khz = "37125";
					num_lanes = "2";
					tegra_sinterface = "serial_b";
					vc_id = "1";
					phy_mode = "DPHY";
					discontinuous_clk = "no";
					dpcm_enable = "false";
					cil_settletime = "0";
					lane_polarity = "6";
					active_w = "1024";
					active_h = "720";
					dynamic_pixel_bit_depth = "10";
					csi_pixel_bit_depth = "10";
					mode_type = "bayer";
					pixel_phase = "rggb";
					readout_orientation = "0";
					line_length = "3000";
					inherent_gain = "1";
					pix_clk_hz = "950400000";
					serdes_pix_clk_hz = "12000000000";
					gain_factor = "10";
					min_gain_val = "0";
					max_gain_val = "480";
					step_gain_val = "1";
					default_gain = "0";
					min_hdr_ratio = "1";
					max_hdr_ratio = "1";
					framerate_factor = "1000000";
					min_framerate = "1500000";
					max_framerate = "377000000";
					step_framerate = "1";
					default_framerate = "377000000";
					exposure_factor = "1000000";
					min_exp_time = "3";
					max_exp_time = "660000";
					step_exp_time = "1";
					default_exp_time = "10000";
					embedded_metadata_height = "0";
				};
				mode15 {
					aliensense_sensors_pool = "sony,imx219;";
					mclk_khz = "24000";
					num_lanes = "2";
					tegra_sinterface = "serial_b";
					vc_id = "1";
					phy_mode = "DPHY";
					discontinuous_clk = "no";
					dpcm_enable = "false";
					cil_settletime = "0";
					lane_polarity = "6";
					active_w = "3280";
					active_h = "2464";
					dynamic_pixel_bit_depth = "10";
					csi_pixel_bit_depth = "10";
					mode_type = "bayer";
					pixel_phase = "rggb";
					readout_orientation = "0";
					line_length = "3448";
					inherent_gain = "1";
					pix_clk_hz = "182400000";
					serdes_pix_clk_hz = "12000000000";
					gain_factor = "16";
					min_gain_val = "16";
					max_gain_val = "170";
					step_gain_val = "1";
					default_gain = "16";
					min_hdr_ratio = "1";
					max_hdr_ratio = "1";
					framerate_factor = "1000000";
					min_framerate = "2000000";
					max_framerate = "21000000";
					step_framerate = "1";
					default_framerate = "21000000";
					exposure_factor = "1000000";
					min_exp_time = "13";
					max_exp_time = "683709";
					step_exp_time = "1";
					default_exp_time = "2495";
					embedded_metadata_height = "0";
				};
				mode16 {
					aliensense_sensors_pool = "sony,imx219;";
					mclk_khz = "24000";
					num_lanes = "2";
					tegra_sinterface = "serial_b";
					vc_id = "1";
					phy_mode = "DPHY";
					discontinuous_clk = "no";
					dpcm_enable = "false";
					cil_settletime = "0";
					lane_polarity = "6";
					active_w = "3280";
					active_h = "1848";
					dynamic_pixel_bit_depth = "10";
					csi_pixel_bit_depth = "10";
					mode_type = "bayer";
					pixel_phase = "rggb";
					readout_orientation = "0";
					line_length = "3448";
					inherent_gain = "1";
					pix_clk_hz = "182400000";
					serdes_pix_clk_hz = "12000000000";
					gain_factor = "16";
					min_gain_val = "16";
					max_gain_val = "170";
					step_gain_val = "1";
					default_gain = "16";
					min_hdr_ratio = "1";
					max_hdr_ratio = "1";
					framerate_factor = "1000000";
					min_framerate = "2000000";
					max_framerate = "28000000";
					step_framerate = "1";
					default_framerate = "28000000";
					exposure_factor = "1000000";
					min_exp_time = "13";
					max_exp_time = "683709";
					step_exp_time = "1";
					default_exp_time = "2495";
					embedded_metadata_height = "0";
				};
				mode17 {
					aliensense_sensors_pool = "sony,imx219;";
					mclk_khz = "24000";
					num_lanes = "2";
					tegra_sinterface = "serial_b";
					vc_id = "1";
					phy_mode = "DPHY";
					discontinuous_clk = "no";
					dpcm_enable = "false";
					cil_settletime = "0";
					lane_polarity = "6";
					active_w = "1920";
					active_h = "1080";
					dynamic_pixel_bit_depth = "10";
					csi_pixel_bit_depth = "10";
					mode_type = "bayer";
					pixel_phase = "rggb";
					readout_orientation = "0";
					line_length = "3448";
					inherent_gain = "1";
					pix_clk_hz = "182400000";
					serdes_pix_clk_hz = "12000000000";
					gain_factor = "16";
					min_gain_val = "16";
					max_gain_val = "170";
					step_gain_val = "1";
					default_gain = "16";
					min_hdr_ratio = "1";
					max_hdr_ratio = "1";
					framerate_factor = "1000000";
					min_framerate = "2000000";
					max_framerate = "30000000";
					step_framerate = "1";
					default_framerate = "30000000";
					exposure_factor = "1000000";
					min_exp_time = "13";
					max_exp_time = "683709";
					step_exp_time = "1";
					default_exp_time = "2495";
					embedded_metadata_height = "0";
				};
				mode18 {
					aliensense_sensors_pool = "sony,imx219;";
					mclk_khz = "24000";
					num_lanes = "2";
					tegra_sinterface = "serial_b";
					vc_id = "1";
					phy_mode = "DPHY";
					discontinuous_clk = "no";
					dpcm_enable = "false";
					cil_settletime = "0";
					lane_polarity = "6";
					active_w = "1640";
					active_h = "1232";
					dynamic_pixel_bit_depth = "10";
					csi_pixel_bit_depth = "10";
					mode_type = "bayer";
					pixel_phase = "rggb";
					readout_orientation = "0";
					line_length = "3448";
					inherent_gain = "1";
					pix_clk_hz = "182400000";
					serdes_pix_clk_hz = "12000000000";
					gain_factor = "16";
					min_gain_val = "16";
					max_gain_val = "170";
					step_gain_val = "1";
					default_gain = "16";
					min_hdr_ratio = "1";
					max_hdr_ratio = "1";
					framerate_factor = "1000000";
					min_framerate = "2000000";
					max_framerate = "30000000";
					step_framerate = "1";
					default_framerate = "30000000";
					exposure_factor = "1000000";
					min_exp_time = "13";
					max_exp_time = "683709";
					step_exp_time = "1";
					default_exp_time = "2495";
					embedded_metadata_height = "0";
				};
				mode19 {
					aliensense_sensors_pool = "sony,imx219;";
					mclk_khz = "24000";
					num_lanes = "2";
					tegra_sinterface = "serial_b";
					vc_id = "1";
					phy_mode = "DPHY";
					discontinuous_clk = "no";
					dpcm_enable = "false";
					cil_settletime = "0";
					lane_polarity = "6";
					active_w = "1280";
					active_h = "720";
					dynamic_pixel_bit_depth = "10";
					csi_pixel_bit_depth = "10";
					mode_type = "bayer";
					pixel_phase = "rggb";
					readout_orientation = "0";
					line_length = "3448";
					inherent_gain = "1";
					pix_clk_hz = "182400000";
					serdes_pix_clk_hz = "12000000000";
					gain_factor = "16";
					min_gain_val = "16";
					max_gain_val = "170";
					step_gain_val = "1";
					default_gain = "16";
					min_hdr_ratio = "1";
					max_hdr_ratio = "1";
					framerate_factor = "1000000";
					min_framerate = "2000000";
					max_framerate = "60000000";
					step_framerate = "1";
					default_framerate = "60000000";
					exposure_factor = "1000000";
					min_exp_time = "13";
					max_exp_time = "683709";
					step_exp_time = "1";
					default_exp_time = "2495";
					embedded_metadata_height = "0";
				};
				mode20 {
					aliensense_sensors_pool = "sony,imx477;";
					mclk_khz = "24000";
					num_lanes = "2";
					tegra_sinterface = "serial_b";
					vc_id = "1";
					phy_mode = "DPHY";
					discontinuous_clk = "no";
					dpcm_enable = "false";
					cil_settletime = "0";
					lane_polarity = "6";
					active_w = "3840";
					active_h = "2160";
					dynamic_pixel_bit_depth = "10";
					csi_pixel_bit_depth = "10";
					mode_type = "bayer";
					pixel_phase = "rggb";
					readout_orientation = "0";
					line_length = "11200";
					inherent_gain = "1";
					pix_clk_hz = "300000000";
					serdes_pix_clk_hz = "12000000000";
					gain_factor = "16";
					min_gain_val = "16";
					max_gain_val = "356";
					step_gain_val = "1";
					default_gain = "16";
					min_hdr_ratio = "1";
					max_hdr_ratio = "1";
					framerate_factor = "1000000";
					min_framerate = "2000000";
					max_framerate = "30000000";
					step_framerate = "1";
					default_framerate = "30000000";
					exposure_factor = "1000000";
					min_exp_time = "13";
					max_exp_time = "683709";
					step_exp_time = "1";
					default_exp_time = "2495";
					embedded_metadata_height = "0";
				};
				mode21 {
					aliensense_sensors_pool = "sony,imx477;";
					mclk_khz = "24000";
					num_lanes = "2";
					tegra_sinterface = "serial_b";
					vc_id = "1";
					phy_mode = "DPHY";
					discontinuous_clk = "no";
					dpcm_enable = "false";
					cil_settletime = "0";
					lane_polarity = "6";
					active_w = "1920";
					active_h = "1080";
					dynamic_pixel_bit_depth = "10";
					csi_pixel_bit_depth = "10";
					mode_type = "bayer";
					pixel_phase = "rggb";
					readout_orientation = "0";
					line_length = "7000";
					inherent_gain = "1";
					pix_clk_hz = "300000000";
					serdes_pix_clk_hz = "12000000000";
					gain_factor = "16";
					min_gain_val = "16";
					max_gain_val = "356";
					step_gain_val = "1";
					default_gain = "16";
					min_hdr_ratio = "1";
					max_hdr_ratio = "1";
					framerate_factor = "1000000";
					min_framerate = "2000000";
					max_framerate = "60000000";
					step_framerate = "1";
					default_framerate = "60000000";
					exposure_factor = "1000000";
					min_exp_time = "13";
					max_exp_time = "683709";
					step_exp_time = "1";
					default_exp_time = "2495";
					embedded_metadata_height = "0";
				};
				aliensense-ctrl {
					#address-cells = <1>;
					#size-cells = <0>;
					ctrl@0 {
						reg = <0>;
						aliensense,sensor = "framos,imx335";
						aliensense,inck-hz = <74250000>;
						aliensense,ctrl-group-hold = <0x3001 1 0 1 1 0 0 0>;
						aliensense,ctrl-gain = <0x30e8 2 0 1 10 3 240 0>;
						aliensense,ctrl-exposure = <0x3058 3 0 1 0 9 1 0>;
						aliensense,ctrl-frame-length = <0x3030 3 0 1 1176 0 0 0>;
						aliensense,ctrl-line-length = <0x3034 2 0 0 0 0 0 0>;
						aliensense,ctrl-standby = <0x3000 1 0 0 1 0 0 0>;
						aliensense,ctrl-start = <0x3002 1 0 0 0 0 0 0>;
						aliensense,ctrl-black-level = <0x3302 2 0 0 0 0 0 0>;
					};
					ctrl@1 {
						reg = <1>;
						aliensense,sensor = "framos,imx900";
						aliensense,inck-hz = <74250000>;
						aliensense,ctrl-group-hold = <0x30f8 1 0 1 1 0 0 0>;
						aliensense,ctrl-gain = <0x3514 2 0 1 10 1 480 0>;
						aliensense,ctrl-exposure = <0x3240 3 0 1 1550 85 1 0>;
						aliensense,ctrl-frame-length = <0x30d4 3 0 1 173 0 0 0>;
						aliensense,ctrl-line-length = <0x30d8 2 0 0 0 0 0 0>;
						aliensense,ctrl-standby = <0x3000 1 0 0 1 0 0 0>;
						aliensense,ctrl-start = <0x3010 1 0 0 0 0 0 0>;
						aliensense,ctrl-trigger = <0x3400 1 0 0 0 10 9 0>;
						aliensense,ctrl-vint-en = <0x323e 1 0 0 26 24 25 0>;
						aliensense,ctrl-sync-sel = <0x343c 1 0 0 192 240 0 0>;
						aliensense,ctrl-test-pattern = <0x3550 1 0 0 6 7 13649 0>;
						aliensense,ctrl-black-level = <0x35b4 2 0 0 0 0 0 0>;
					};
					ctrl@2 {
						reg = <2>;
						aliensense,sensor = "sony,imx219";
						aliensense,inck-hz = <182400000>;
					};
					ctrl@3 {
						reg = <3>;
						aliensense,sensor = "sony,imx477";
						aliensense,inck-hz = <840000000>;
					};
				};
				ports {
					#address-cells = <1>;
					#size-cells = <0>;
					port@0 {
						reg = <0>;
						sensor_out_e: endpoint {
							vc-id = <1>;
							port-index = <1>;
							bus-width = <2>;
							remote-endpoint = <&sensor_csi_ch0_in>;
						};
					};
				};
			};
		};
	};
};
